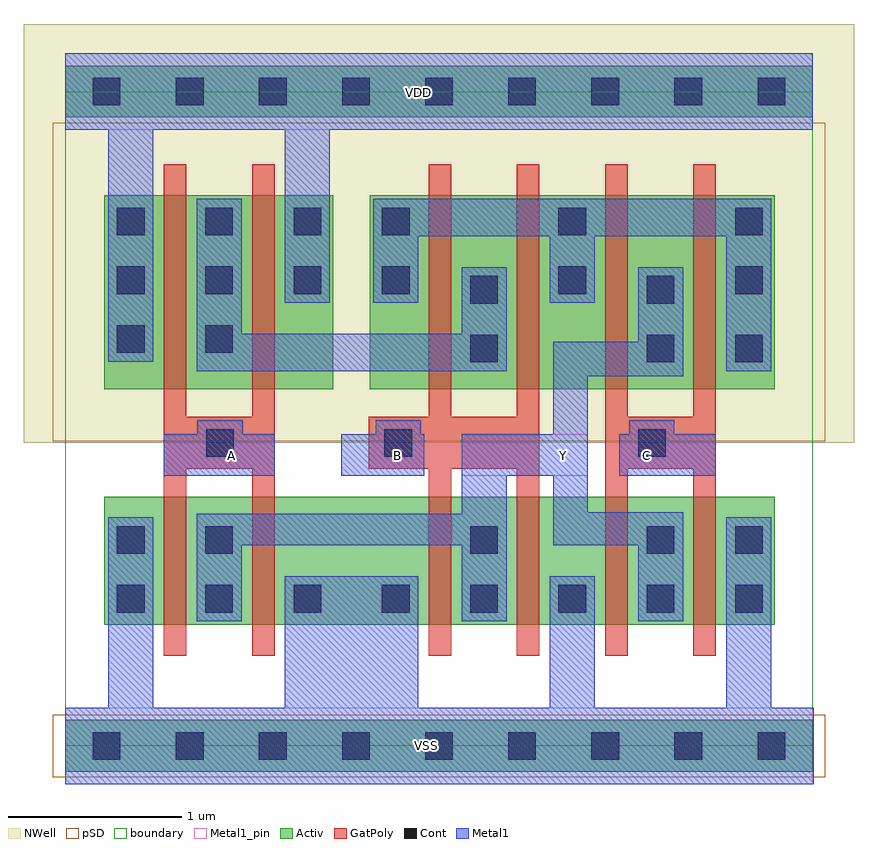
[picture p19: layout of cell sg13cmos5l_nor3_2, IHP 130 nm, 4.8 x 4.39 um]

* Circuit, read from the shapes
.subckt sg13cmos5l_nor3_2 A B C VDD VSS Y
XM1 Y A VSS VSS sg13_lv_nmos w=0.74u l=0.13u m=2
XM2 Y B VSS VSS sg13_lv_nmos w=0.74u l=0.13u m=2
XM3 Y C VSS VSS sg13_lv_nmos w=0.74u l=0.13u m=2
XM4 n1 A VDD VDD sg13_lv_pmos w=1.12u l=0.13u m=2
XM5 n1 B n2 VDD sg13_lv_pmos w=1.12u l=0.13u m=2
XM6 Y C n2 VDD sg13_lv_pmos w=1.12u l=0.13u m=2
.ends

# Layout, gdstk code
import gdstk
lib = gdstk.Library(unit=1e-6, precision=1e-09)
def R(c, l, rs):  # rectangles x0, y0, x1, y1
    for r in rs: c.add(gdstk.rectangle(r[:2], r[2:], *l))
def A(c, l, x, y, w, h, nx, ny, dx, dy):  # array of equal rectangles
    R(c, l, [(x+i*dx, y+j*dy, x+i*dx+w, y+j*dy+h) for i in range(nx) for j in range(ny)])
def P(c, l, *ps):  # polygons
    for p in ps: c.add(gdstk.Polygon(p, *l))
Activ = (1, 0)
GatPoly = (5, 0)
Cont = (6, 0)
Metal1 = (8, 0)
Metal1_pin = (8, 2)
pSD = (14, 0)
NWell = (31, 0)
boundary = (189, 4)

sg13cmos5l_nor3_2 = lib.new_cell('sg13cmos5l_nor3_2')
R(sg13cmos5l_nor3_2, Activ, [(0,-0.15,4.32,0.15), (0.225,0.7,4.1,1.44), (0.225,2.06,1.55,3.18), (1.76,2.06,4.1,3.18), (0,3.63,4.32,3.93)])
P(sg13cmos5l_nor3_2, GatPoly, [(3.12,0.52),(3.12,3.36),(3.25,3.36),(3.25,1.9),(3.63,1.9),(3.63,3.36),(3.76,3.36),(3.76,0.52),(3.63,0.52),(3.63,1.6),(3.25,1.6),(3.25,0.52)],
  [(2.1,0.52),(2.1,1.6),(1.755,1.6),(1.755,1.9),(2.1,1.9),(2.1,3.36),(2.23,3.36),(2.23,1.9),(2.61,1.9),(2.61,3.36),(2.74,3.36),(2.74,0.52),(2.61,0.52),(2.61,1.6),(2.23,1.6),(2.23,0.52)],
  [(0.57,0.52),(0.57,3.36),(0.7,3.36),(0.7,1.9),(1.08,1.9),(1.08,3.36),(1.21,3.36),(1.21,0.52),(1.08,0.52),(1.08,1.6),(0.7,1.6),(0.7,0.52)])
A(sg13cmos5l_nor3_2, Cont, 0.16, -0.08, 0.16, 0.16, 9, 2, 0.48, 3.78)
A(sg13cmos5l_nor3_2, Cont, 0.3, 0.77, 0.16, 0.16, 8, 1, 0.51, 0)
A(sg13cmos5l_nor3_2, Cont, 0.3, 2.61, 0.16, 0.16, 4, 2, 0.51, 0.34)
R(sg13cmos5l_nor3_2, Cont, [(0.3,1.11,0.46,1.27), (0.81,1.11,0.97,1.27), (2.34,1.11,2.5,1.27), (3.36,1.11,3.52,1.27), (3.87,1.11,4.03,1.27), (0.815,1.67,0.975,1.83), (1.845,1.67,2.005,1.83), (3.31,1.67,3.47,1.83), (2.34,2.215,2.5,2.375), (3.36,2.215,3.52,2.375), (3.87,2.215,4.03,2.375), (0.3,2.27,0.46,2.43), (0.81,2.27,0.97,2.43), (2.34,2.555,2.5,2.715), (3.36,2.555,3.52,2.715), (2.85,2.61,3.01,2.77), (3.87,2.61,4.03,2.77), (2.85,2.95,3.01,3.11), (3.87,2.95,4.03,3.11)])
R(sg13cmos5l_nor3_2, Metal1, [(1.595,1.56,2.075,1.8), (1.795,1.8,2.055,1.88)])
P(sg13cmos5l_nor3_2, Metal1, [(0.76,0.72),(0.76,1.34),(2.29,1.34),(2.29,1.8),(2.82,1.8),(2.82,2.335),(3.31,2.335),(3.31,2.765),(3.57,2.765),(3.57,2.135),(3.02,2.135),(3.02,1.35),(3.57,1.35),(3.57,0.72),(3.31,0.72),(3.31,1.16),(2.82,1.16),(2.82,1.56),(2.55,1.56),(2.55,0.72),(2.29,0.72),(2.29,1.16),(1.02,1.16),(1.02,0.72)],
  [(0.76,2.165),(0.76,3.16),(1.02,3.16),(1.02,2.38),(2.29,2.38),(2.29,2.765),(2.55,2.765),(2.55,2.165)],
  [(0,-0.22),(0,0.22),(0.25,0.22),(0.25,1.32),(0.51,1.32),(0.51,0.22),(1.27,0.22),(1.27,0.98),(2.04,0.98),(2.04,0.22),(2.8,0.22),(2.8,0.98),(3.06,0.98),(3.06,0.22),(3.82,0.22),(3.82,1.32),(4.08,1.32),(4.08,0.22),(4.325,0.22),(4.325,-0.22)],
  [(3.2,1.56),(3.2,1.8),(3.26,1.8),(3.26,1.88),(3.52,1.88),(3.52,1.8),(3.76,1.8),(3.76,1.56)],
  [(0.57,1.56),(0.57,1.8),(0.765,1.8),(0.765,1.88),(1.025,1.88),(1.025,1.8),(1.21,1.8),(1.21,1.56)],
  [(0.25,2.22),(0.25,3.56),(0,3.56),(0,4),(4.32,4),(4.32,3.56),(1.53,3.56),(1.53,2.56),(1.27,2.56),(1.27,3.56),(0.51,3.56),(0.51,2.22)],
  [(3.82,2.165),(3.82,2.945),(3.06,2.945),(3.06,2.56),(2.8,2.56),(2.8,2.945),(2.04,2.945),(2.04,2.56),(1.78,2.56),(1.78,3.16),(4.08,3.16),(4.08,2.165)])
R(sg13cmos5l_nor3_2, Metal1_pin, [(0,-0.22,4.32,0.22), (0.57,1.56,1.21,1.8), (1.595,1.56,2.075,1.8), (2.29,1.56,3.02,1.8), (3.2,1.56,3.76,1.8), (0,3.56,4.32,4)])
R(sg13cmos5l_nor3_2, pSD, [(-0.07,-0.18,4.39,0.18), (-0.07,1.76,4.39,3.6)])
R(sg13cmos5l_nor3_2, NWell, [(-0.24,1.75,4.56,4.17)])
R(sg13cmos5l_nor3_2, boundary, [(0,0,4.32,3.78)])
sg13cmos5l_nor3_2.add(gdstk.Label('Y', (2.88,1.68), layer=8, texttype=25))
sg13cmos5l_nor3_2.add(gdstk.Label('VDD', (2.04,3.775), layer=8, texttype=25))
sg13cmos5l_nor3_2.add(gdstk.Label('B', (1.92,1.68), layer=8, texttype=25))
sg13cmos5l_nor3_2.add(gdstk.Label('A', (0.96,1.68), layer=8, texttype=25))
sg13cmos5l_nor3_2.add(gdstk.Label('VSS', (2.085,0.005), layer=8, texttype=25))
sg13cmos5l_nor3_2.add(gdstk.Label('C', (3.36,1.68), layer=8, texttype=25))

lib.write_gds('sg13cmos5l_nor3_2.gds')
